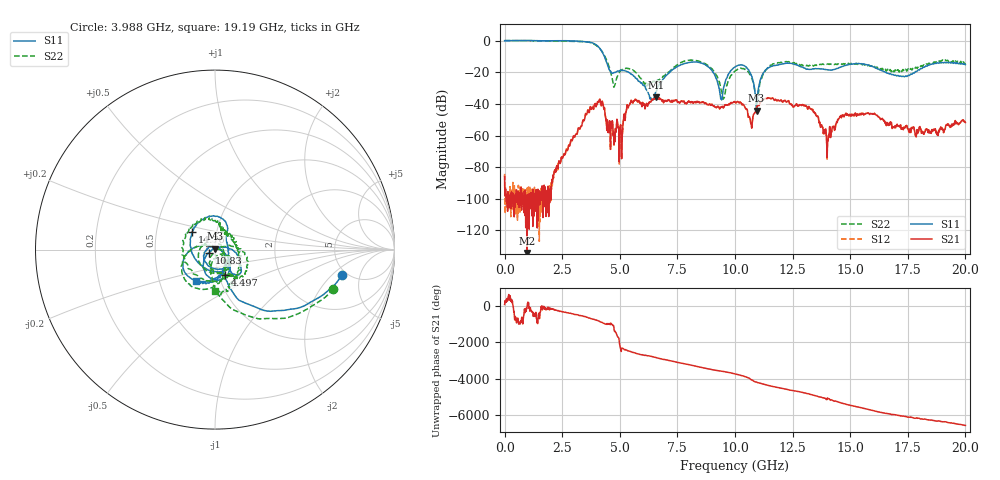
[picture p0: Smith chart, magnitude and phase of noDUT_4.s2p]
#  HZ  S  RI  R  50.00
! Rohde & Schwarz Vector Network Analyzer
! Rohde-Schwarz,ZNB20-2Port,1311601062102128,3.60
! Created: UTC 4/29/2024, 2:42:03 PM
! freq[Hz]  re:S11  im:S11  re:S21  im:S21  re:S12  im:S12  re:S22  im:S22
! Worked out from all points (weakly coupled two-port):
!   2007 points, 100 kHz to 20 GHz, reference 50 ohm
!   highest |S21| = -35.76 dB at 6.58 GHz (marker M1); lowest = -134.2 dB at 967.2 MHz (marker M2)
!   lowest |S11| = -44.3 dB at 10.94 GHz (marker M3), VSWR 1.01, Z = 49.8 + j0.584 ohm
!   |S11| at or under -10 dB: 4.333 GHz to end of sweep
!   |S22| runs from -44.1 to 0.1 dB; largest |S21 - S12| = 0.00084
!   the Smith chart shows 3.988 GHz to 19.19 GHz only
!   S11 on the Smith chart (normalised r, x): 3.988 GHz: 4.49, -2.67; 4.497 GHz: 1.07, -0.31; 10.83 GHz: 0.93, -0.03; 14.76 GHz: 0.76, +0.15; 19.19 GHz: 0.76, -0.28
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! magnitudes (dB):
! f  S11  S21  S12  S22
! 100 kHz  0.0  -85.8  -84.2  0.1
! 967.2 MHz  0.1  -134.2  -106.0  0.0
! 2.233 GHz  0.0  -80.7  -80.6  -0.3
! 3.34 GHz  -0.6  -54.1  -53.9  -0.6
! 3.988 GHz  -2.9  -39.9  -40.4  -3.2
! 4.497 GHz  -16.3  -54.4  -54.4  -15.0
! 4.756 GHz  -20.1  -61.4  -61.9  -29.1
! 5.553 GHz  -21.6  -39.0  -39.0  -18.5
! 6.58 GHz  -32.1  -35.8  -35.8  -25.5
! 6.67 GHz  -28.7  -36.7  -36.7  -24.9
! 8.365 GHz  -13.6  -38.5  -38.5  -12.8
! 9.412 GHz  -37.3  -42.0  -42.0  -31.8
! 10 GHz  -16.7  -38.8  -38.8  -19.3
! 10.83 GHz  -28.3  -46.3  -46.2  -28.9
! 10.94 GHz  -44.3  -42.1  -42.1  -43.1
! 11.6 GHz  -16.2  -36.4  -36.5  -15.4
! 13.34 GHz  -18.1  -43.8  -43.8  -15.6
! 13.99 GHz  -18.4  -68.7  -69.0  -15.0
! 14.76 GHz  -15.9  -47.1  -47.2  -15.0
! 16.67 GHz  -20.9  -53.6  -53.6  -19.5
! 19.19 GHz  -13.8  -53.4  -53.5  -12.7
! 20 GHz  -15.2  -51.8  -51.8  -14.2
